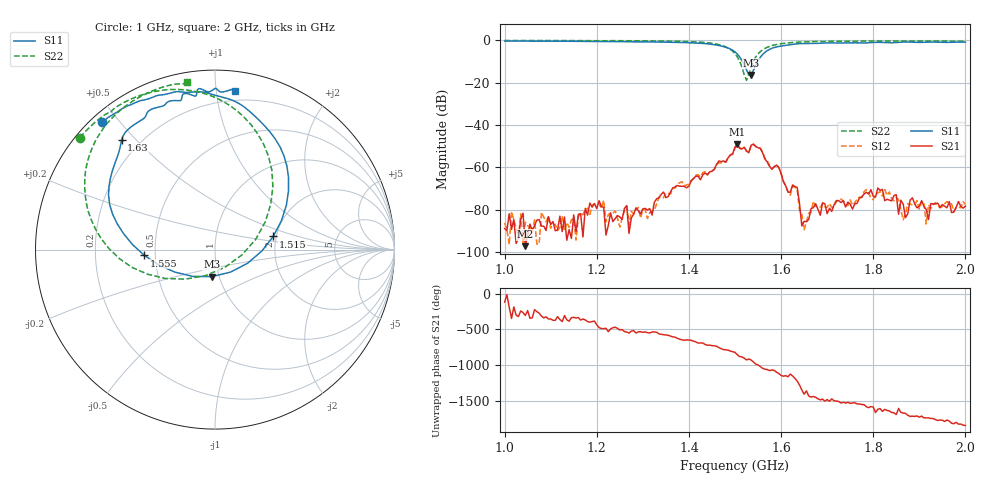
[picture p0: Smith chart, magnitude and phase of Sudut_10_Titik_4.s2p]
# Hz S RI R 50
! CMT, C1220, 16058040, 17.2.0/1
! Date: 14/08/2018 12:28:26
! Data: Format (Calibration Info)
! Freq  S11: Re/Im (F2)  S21: Re/Im (F2)  S12: Re/Im (F2)  S22: Re/Im (F2)
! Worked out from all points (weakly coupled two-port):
!   201 points, 1 GHz to 2 GHz, reference 50 ohm
!   highest |S21| = -48.94 dB at 1.505 GHz (marker M1); lowest = -97.1 dB at 1.045 GHz (marker M2)
!   lowest |S11| = -16.4 dB at 1.535 GHz (marker M3), VSWR 1.36, Z = 46.2 - j14.2 ohm
!   |S11| at or under -10 dB: 1.516 GHz to 1.549 GHz (33.29 MHz wide, 2.17 % of centre)
!   |S22| runs from -18.9 to -0.2 dB; largest |S21 - S12| = 0.00023
!   S11 on the Smith chart (normalised r, x): 1 GHz: 0.03, +0.45; 1.515 GHz: 1.93, +0.32; 1.555 GHz: 0.43, -0.03; 1.63 GHz: 0.13, +0.46; 2 GHz: 0.13, +1.13
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1e9  -0.6269 0.7085  -1.77e-05 -3.2e-05  -3.29e-05 3.69e-05  -0.7529 0.6243
1.045e9  -0.5933 0.7376  8.2e-06 1.14e-05  -3.96e-05 3.24e-05  -0.7217 0.658
1.17e9  -0.4516 0.8151  2.29e-05 1.47e-06  5.76e-05 -5.13e-05  -0.6165 0.7497
1.325e9  -0.2017 0.8798  -0.000152 -9.39e-06  -9.85e-05 -4.85e-06  -0.4201 0.8577
1.335e9  -0.1866 0.8778  -0.000177 8.19e-05  -0.000184 7.55e-05  -0.4008 0.864
1.45e9  0.1956 0.7676  0.000804 -0.000139  0.000805 -0.00016  0.0214 0.8377
1.5e9  0.4095 0.3283  -0.000717 -0.00294  -0.000695 -0.00273  0.3224 0.3519
1.505e9  0.3977 0.2468  -0.00263 -0.00242  -0.00246 -0.00236  0.3113 0.2561
1.515e9  0.3243 0.0734  -0.00269 -0.000568  -0.00264 -0.000638  0.2265 0.0568
1.525e9  0.1821 -0.0757  -0.00211 0.0012  -0.00218 0.00113  0.0547 -0.099
1.535e9  -0.0176 -0.1504  -0.00283 0.00177  -0.00285 0.00178  -0.1663 -0.1647
1.555e9  -0.3931 -0.0324  0.00153 0.00232  0.00146 0.00244  -0.5324 -0.0504
1.595e9  -0.5819 0.4018  0.000756 -0.000651  0.000752 -0.000657  -0.7258 0.3458
1.615e9  -0.535 0.545  1.55e-05 -0.000263  2.75e-05 -0.000266  -0.7145 0.4738
1.63e9  -0.5198 0.6124  -0.000106 -0.000341  -5.78e-05 -0.000335  -0.6928 0.5442
1.64e9  -0.5017 0.6507  -0.000132 5.38e-05  -9.45e-05 2.99e-05  -0.6767 0.5838
1.67e9  -0.4009 0.7276  0.000113 -5.49e-06  0.000156 -2.92e-05  -0.6244 0.6724
1.755e9  -0.2486 0.8283  -6.68e-06 -0.000104  -1.97e-05 -0.000127  -0.4889 0.8062
1.81e9  -0.1692 0.8697  -0.000329 1.28e-05  -0.00021 0.000134  -0.4111 0.8551
1.835e9  -0.1127 0.8551  -0.000153 7.59e-05  -0.000204 0.000168  -0.3773 0.8721
1.86e9  -0.0985 0.8867  -0.000115 0.000124  3.2e-05 9.5e-05  -0.3432 0.8861
2e9  0.1132 0.8843  7.86e-05 -9.43e-05  9.35e-05 -9.65e-05  -0.1539 0.9319
